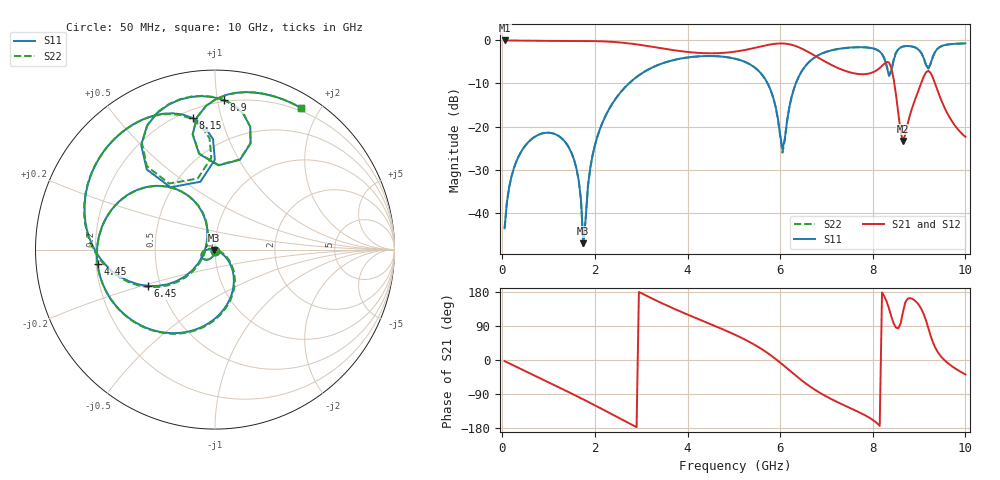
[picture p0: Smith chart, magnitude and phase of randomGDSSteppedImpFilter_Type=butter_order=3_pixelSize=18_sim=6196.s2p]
! freq	dB(S11)	phase(S11)	dB(S12)	phase(S12)
!  dB(S21)	phase(S21)	dB(S22)	phase(S22)
!S-par simulation data
#  GHz  S  DB  R 50
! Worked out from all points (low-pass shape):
!   200 points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, 50 MHz to 10 GHz, reference 50 ohm
!   highest |S21| = 0.00 dB at 50 MHz (marker M1); lowest = -23.4 dB at 8.65 GHz (marker M2)
!   |S21| within 3 dB of the highest: start of sweep to 6.661 GHz
!   lowest |S11| = -47.1 dB at 1.75 GHz (marker M3), VSWR 1.01, Z = 49.6 - j0.226 ohm
!   |S11| at or under -10 dB: start of sweep to 2.733 GHz; 5.729 GHz to 6.339 GHz (609.1 MHz wide, 10.1 % of centre)
!   |S22| runs from -47.8 to -0.7 dB; largest |S21 - S12| = 0
!   S11 on the Smith chart (normalised r, x): 50 MHz: 1.00, -0.01; 4.45 GHz: 0.21, -0.06; 6.45 GHz: 0.43, -0.21; 8.15 GHz: 0.25, +0.82; 8.9 GHz: 0.19, +1.04; 10 GHz: 0.17, +1.77
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0.05  -43.62 -91.8  -0.00 -3.0  -0.00 -3.0  -43.62 -91.8
0.35  -26.98 -111.0  -0.05 -20.7  -0.05 -20.7  -26.98 -111.2
1.1  -21.61 -154.9  -0.11 -64.8  -0.11 -64.8  -21.61 -156.0
1.6  -29.68 177.8  -0.11 -94.8  -0.11 -94.8  -29.70 172.1
1.75  -47.14 -148.8  -0.12 -104.0  -0.12 -104.0  -47.79 122.7
1.9  -29.59 -28.4  -0.14 -113.3  -0.14 -113.3  -29.60 -21.1
2.15  -19.43 -41.6  -0.21 -129.2  -0.21 -129.2  -19.43 -38.9
3.4  -5.54 -118.3  -1.75 152.6  -1.75 152.6  -5.54 -117.5
4.45  -3.62 -172.9  -2.98 97.0  -2.98 97.0  -3.62 -172.4
5.05  -4.30 156.4  -2.56 65.2  -2.56 65.2  -4.30 156.8
5.75  -10.42 113.7  -1.01 16.6  -1.01 16.6  -10.44 113.5
6.05  -25.41 158.7  -0.70 -11.8  -0.70 -11.8  -26.07 158.5
6.45  -7.44 -151.6  -1.81 -52.3  -1.81 -52.3  -7.45 -150.5
6.7  -4.30 -171.3  -3.24 -74.4  -3.24 -74.4  -4.30 -170.5
7.35  -1.82 147.2  -6.86 -117.7  -6.86 -117.7  -1.83 147.9
8.15  -2.58 99.5  -6.41 -174.0  -6.41 -174.0  -2.56 100.7
8.35  -8.25 102.1  -5.12 135.9  -5.12 135.9  -7.80 103.7
8.65  -1.43 107.8  -23.36 125.5  -23.36 125.5  -1.40 107.4
8.9  -1.57 86.6  -14.13 157.8  -14.13 157.8  -1.56 86.6
9.2  -6.56 87.6  -7.05 84.1  -7.05 84.1  -6.52 87.6
9.5  -1.25 85.6  -14.41 5.6  -14.41 5.6  -1.25 85.6
10  -0.69 58.7  -22.38 -38.2  -22.38 -38.2  -0.69 58.7
